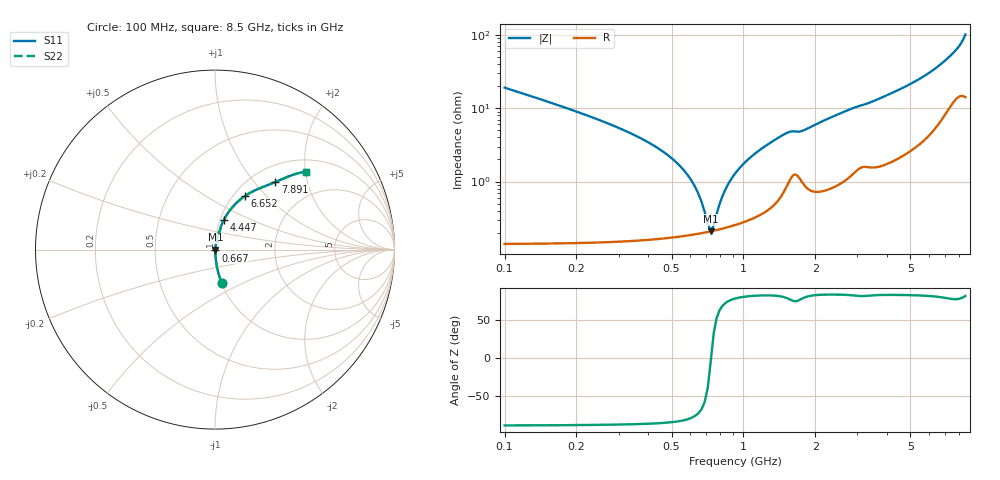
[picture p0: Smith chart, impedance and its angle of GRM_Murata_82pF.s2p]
!Murata Part Number: GRM1885C1H820JA01
!These Parameters are Measured in Series Mode Connection
!Data Generated on Mar 13, 2026
!  o--ll--o
!Port1  Port2
!  o------o
!Operation Temp=25[degC], DC Bias Voltage=0[V]
!Freq. Start=100[MHz] Stop=9[GHz] 401[Steps]
# Hz S RI R 50
!Freq.(Hz) S11(Real) S11(Imag) S21(Real) S21(Imag) S12(Real) S12(Imag) S22(Real) S22(Imag)
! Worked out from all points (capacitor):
!   401 points, 100 MHz to 8.5 GHz, reference 50 ohm
!   read as one part in series: C = 82 pF near 142 MHz
!   lowest |Z| = 210 mohm at 730 MHz (marker M1)
!   series resonance near 732 MHz, so ESL is about 580 pH
!   S11 on the Smith chart (normalised r, x): 100 MHz: 1.00, -0.38; 667 MHz: 1.00, -0.01; 4.447 GHz: 1.04, +0.35; 6.652 GHz: 1.13, +0.77; 7.891 GHz: 1.28, +1.29; 8.5 GHz: 1.28, +2.00
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1e8  0.0363 -0.1833  0.9637 0.1833  0.9637 0.1833  0.0363 -0.1833
2.47e8  0.00629 -0.0692  0.9937 0.0692  0.9937 0.0692  0.00629 -0.0692
5.41e8  0.00204 -0.0163  0.998 0.0163  0.998 0.0163  0.00204 -0.0163
6.04e8  0.00197 -0.0103  0.998 0.0103  0.998 0.0103  0.00197 -0.0103
6.67e8  0.002 -0.00496  0.998 0.00496  0.998 0.00496  0.002 -0.00496
7.09e8  0.00206 -0.0017  0.9979 0.0017  0.9979 0.0017  0.00206 -0.0017
7.3e8  0.00209 -0.000147  0.9979 0.000147  0.9979 0.000147  0.00209 -0.000147
7.72e8  0.00219 0.00284  0.9978 -0.00284  0.9978 -0.00284  0.00219 0.00284
8.56e8  0.00244 0.00841  0.9976 -0.00841  0.9976 -0.00841  0.00244 0.00841
9.82e8  0.00298 0.016  0.997 -0.016  0.997 -0.016  0.00298 0.016
1.192e9  0.00435 0.0277  0.9956 -0.0277  0.9956 -0.0277  0.00435 0.0277
1.507e9  0.0101 0.0438  0.9899 -0.0438  0.9899 -0.0438  0.0101 0.0438
1.759e9  0.012 0.0469  0.988 -0.0469  0.988 -0.0469  0.012 0.0469
2.284e9  0.0129 0.0711  0.9871 -0.0711  0.9871 -0.0711  0.0129 0.0711
2.914e9  0.0227 0.0973  0.9773 -0.0973  0.9773 -0.0973  0.0227 0.0973
4.3e9  0.0446 0.1561  0.9554 -0.1561  0.9554 -0.1561  0.0446 0.1561
4.447e9  0.0483 0.1636  0.9517 -0.1636  0.9517 -0.1636  0.0483 0.1636
5.707e9  0.0969 0.2362  0.9031 -0.2362  0.9031 -0.2362  0.0969 0.2362
6.652e9  0.1687 0.3  0.8313 -0.3  0.8313 -0.3  0.1687 0.3
7.114e9  0.2212 0.3294  0.7788 -0.3294  0.7788 -0.3294  0.2212 0.3294
7.891e9  0.3361 0.3768  0.6639 -0.3768  0.6639 -0.3768  0.3361 0.3768
8.5e9  0.5044 0.4344  0.4956 -0.4344  0.4956 -0.4344  0.5044 0.4344
